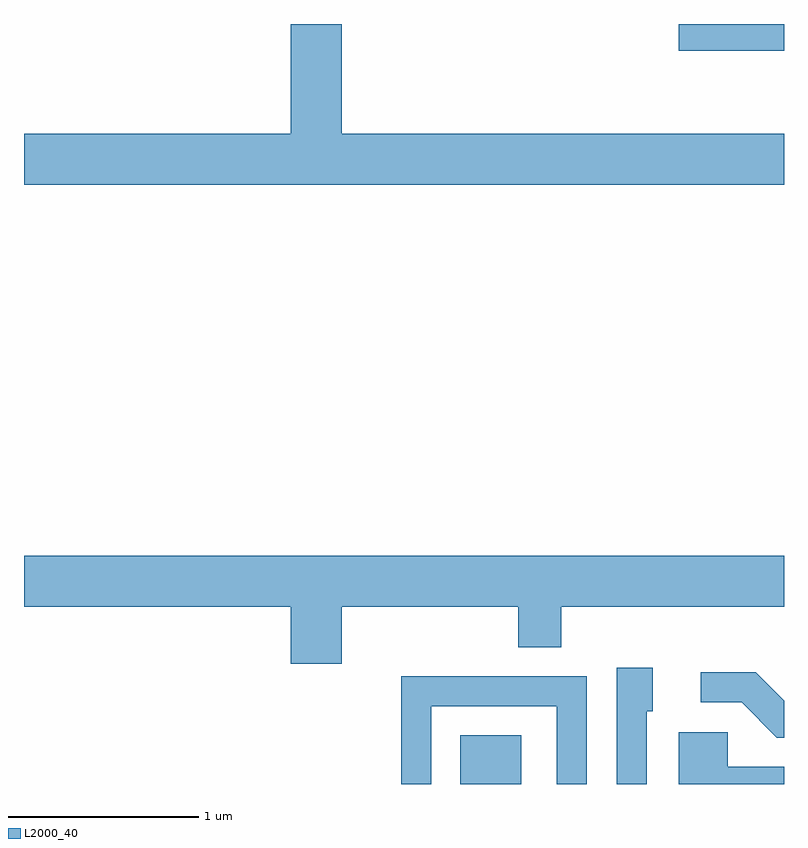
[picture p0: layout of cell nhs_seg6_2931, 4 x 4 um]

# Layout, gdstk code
import gdstk
lib = gdstk.Library(unit=1e-6, precision=1e-09)
def R(c, l, rs):  # rectangles x0, y0, x1, y1
    for r in rs: c.add(gdstk.rectangle(r[:2], r[2:], *l))
def P(c, l, *ps):  # polygons
    for p in ps: c.add(gdstk.Polygon(p, *l))
L2000_40 = (2000, 40)

nhs_seg6_2931 = lib.new_cell('nhs_seg6_2931')
R(nhs_seg6_2931, L2000_40, [(275.906,1600.162,276.229,1600.419), (277.056,1604.021,277.611,1604.162)])
P(nhs_seg6_2931, L2000_40, [(277.611,1603.584),(275.284,1603.584),(275.284,1604.162),(275.016,1604.162),(275.016,1603.584),(273.611,1603.584),(273.611,1603.316),(277.611,1603.316)],
  [(275.284,1601.096),(276.211,1601.096),(276.211,1600.881),(276.439,1600.881),(276.439,1601.096),(277.611,1601.096),(277.611,1601.364),(273.611,1601.364),(273.611,1601.096),(275.016,1601.096),(275.016,1600.796),(275.284,1600.796)],
  [(276.889,1600.546),(276.919,1600.546),(276.919,1600.774),(276.731,1600.774),(276.731,1600.162),(276.889,1600.162)],
  [(277.611,1600.6),(277.462,1600.749),(277.173,1600.749),(277.173,1600.591),(277.389,1600.591),(277.574,1600.406),(277.611,1600.406)],
  [(275.754,1600.571),(276.416,1600.571),(276.416,1600.162),(276.574,1600.162),(276.574,1600.729),(275.596,1600.729),(275.596,1600.162),(275.754,1600.162)],
  [(277.611,1600.254),(277.314,1600.254),(277.314,1600.434),(277.056,1600.434),(277.056,1600.162),(277.611,1600.162)])

lib.write_gds('nhs_seg6_2931.gds')
